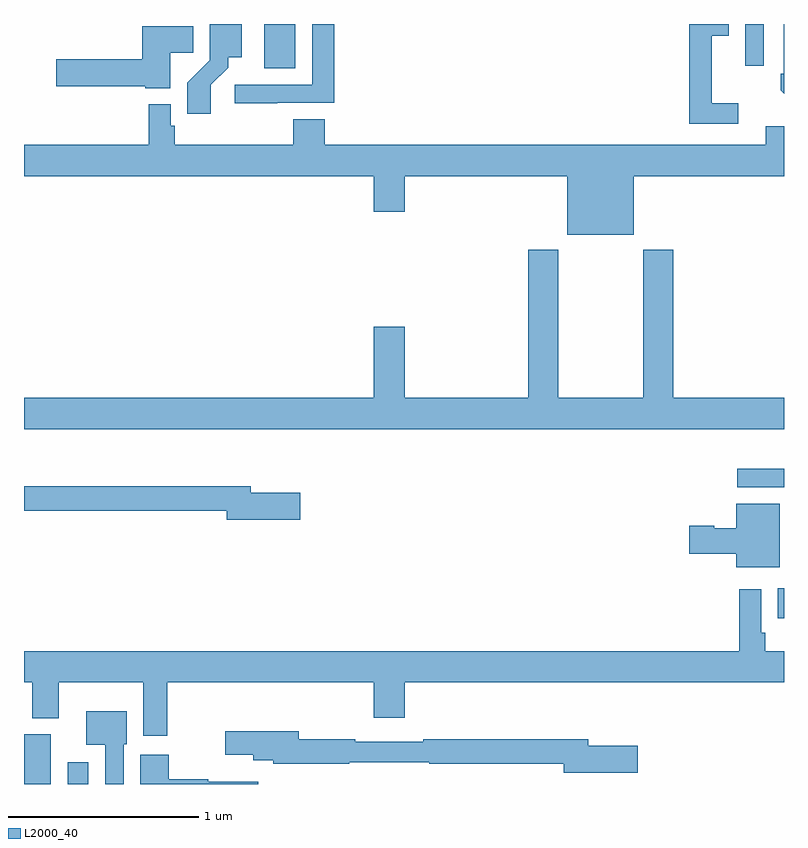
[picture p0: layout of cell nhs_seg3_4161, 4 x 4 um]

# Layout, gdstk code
import gdstk
lib = gdstk.Library(unit=1e-6, precision=1e-09)
def R(c, l, rs):  # rectangles x0, y0, x1, y1
    for r in rs: c.add(gdstk.rectangle(r[:2], r[2:], *l))
def P(c, l, *ps):  # polygons
    for p in ps: c.add(gdstk.Polygon(p, *l))
L2000_40 = (2000, 40)

nhs_seg3_4161 = lib.new_cell('nhs_seg3_4161')
R(nhs_seg3_4161, L2000_40, [(331,680.4,331.141,680.662), (331.229,680.4,331.339,680.515), (334.966,681.272,335,681.43), (334.755,681.963,335,682.059), (332.264,684.168,332.428,684.4), (334.797,684.18,334.893,684.4)])
P(nhs_seg3_4161, L2000_40, [(331.984,684.079),(332.074,684.169),(332.074,684.224),(332.146,684.224),(332.146,684.4),(331.977,684.4),(331.977,684.209),(331.858,684.09),(331.858,683.928),(331.984,683.928)],
  [(335,684.4),(334.998,684.4),(334.998,684.139),(334.983,684.139),(334.983,684.051),(335,684.034)],
  [(334.759,683.983),(334.619,683.983),(334.619,684.338),(334.708,684.338),(334.708,684.4),(334.501,684.4),(334.501,683.874),(334.759,683.874)],
  [(332.333,683.985),(332.633,683.985),(332.633,684.4),(332.517,684.4),(332.517,684.081),(332.109,684.081),(332.109,683.983),(332.333,683.983)],
  [(331.771,684.25),(331.892,684.25),(331.892,684.388),(331.622,684.388),(331.622,684.215),(331.17,684.215),(331.17,684.073),(331.638,684.073),(331.638,684.062),(331.771,684.062)],
  [(334.21,683.6),(335,683.6),(335,683.862),(334.904,683.862),(334.904,683.764),(332.582,683.764),(332.582,683.9),(332.417,683.9),(332.417,683.764),(331.793,683.764),(331.793,683.865),(331.773,683.865),(331.773,683.977),(331.657,683.977),(331.657,683.764),(331,683.764),(331,683.6),(332.84,683.6),(332.84,683.412),(333.004,683.412),(333.004,683.6),(333.86,683.6),(333.86,683.291),(334.21,683.291)],
  [(335,682.432),(334.418,682.432),(334.418,683.212),(334.258,683.212),(334.258,682.432),(333.813,682.432),(333.813,683.212),(333.653,683.212),(333.653,682.432),(333.004,682.432),(333.004,682.807),(332.84,682.807),(332.84,682.432),(331,682.432),(331,682.268),(335,682.268)],
  [(332.455,681.933),(332.194,681.933),(332.194,681.967),(331,681.967),(331,681.838),(332.066,681.838),(332.066,681.791),(332.455,681.791)],
  [(334.978,681.874),(334.748,681.874),(334.748,681.745),(334.632,681.745),(334.632,681.758),(334.5,681.758),(334.5,681.611),(334.748,681.611),(334.748,681.542),(334.978,681.542)],
  [(331.754,680.936),(332.84,680.936),(332.84,680.748),(333.004,680.748),(333.004,680.936),(335,680.936),(335,681.1),(334.901,681.1),(334.901,681.196),(334.881,681.196),(334.881,681.424),(334.765,681.424),(334.765,681.1),(331,681.1),(331,680.936),(331.043,680.936),(331.043,680.747),(331.183,680.747),(331.183,680.936),(331.628,680.936),(331.628,680.655),(331.754,680.655)],
  [(331.524,680.61),(331.54,680.61),(331.54,680.782),(331.328,680.782),(331.328,680.606),(331.428,680.606),(331.428,680.4),(331.524,680.4)],
  [(334.231,680.601),(333.97,680.601),(333.97,680.635),(333.1,680.635),(333.1,680.622),(332.744,680.622),(332.744,680.635),(332.446,680.635),(332.446,680.677),(332.058,680.677),(332.058,680.555),(332.207,680.555),(332.207,680.525),(332.311,680.525),(332.311,680.506),(332.711,680.506),(332.711,680.514),(333.134,680.514),(333.134,680.506),(333.842,680.506),(333.842,680.459),(334.231,680.459)],
  [(332.233,680.413),(331.97,680.413),(331.97,680.426),(331.762,680.426),(331.762,680.554),(331.613,680.554),(331.613,680.4),(332.233,680.4)])

lib.write_gds('nhs_seg3_4161.gds')
